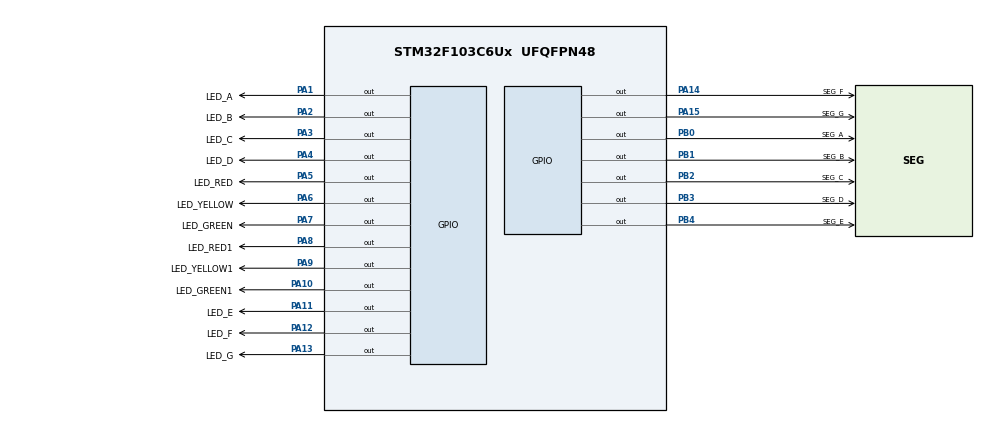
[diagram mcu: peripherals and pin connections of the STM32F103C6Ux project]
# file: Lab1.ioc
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Mcu.Family=STM32F1
Mcu.Name=STM32F103C6Ux
Mcu.Package=UFQFPN48
NVIC.PriorityGroup=NVIC_PRIORITYGROUP_4
PA1.GPIO_Label=LED_A
PA1.Signal=GPIO_Output
PA10.GPIO_Label=LED_GREEN1
PA10.Signal=GPIO_Output
PA11.GPIO_Label=LED_E
PA11.Signal=GPIO_Output
PA12.GPIO_Label=LED_F
PA12.Signal=GPIO_Output
PA13.GPIO_Label=LED_G
PA13.Signal=GPIO_Output
PA14.GPIO_Label=SEG_F
PA14.Signal=GPIO_Output
PA15.GPIO_Label=SEG_G
PA15.Signal=GPIO_Output
PA2.GPIO_Label=LED_B
PA2.Signal=GPIO_Output
PA3.GPIO_Label=LED_C
PA3.Signal=GPIO_Output
PA4.GPIO_Label=LED_D
PA4.Signal=GPIO_Output
PA5.GPIO_Label=LED_RED
PA5.Signal=GPIO_Output
PA6.GPIO_Label=LED_YELLOW
PA6.Signal=GPIO_Output
PA7.GPIO_Label=LED_GREEN
PA7.Signal=GPIO_Output
PA8.GPIO_Label=LED_RED1
PA8.Signal=GPIO_Output
PA9.GPIO_Label=LED_YELLOW1
PA9.Signal=GPIO_Output
PB0.GPIO_Label=SEG_A
PB0.Signal=GPIO_Output
PB1.GPIO_Label=SEG_B
PB1.Signal=GPIO_Output
PB2.GPIO_Label=SEG_C
PB2.Signal=GPIO_Output
PB3.GPIO_Label=SEG_D
PB3.Signal=GPIO_Output
PB4.GPIO_Label=SEG_E
PB4.Signal=GPIO_Output
ProjectManager.HeapSize=0x200
ProjectManager.StackSize=0x400
ProjectManager.TargetToolchain=STM32CubeIDE
RCC.APB1Freq_Value=8000000
RCC.APB2Freq_Value=8000000
VP_SYS_VS_ND.Mode=No_Debug
board=custom

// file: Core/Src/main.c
/* USER CODE BEGIN Header */
/**
  ******************************************************************************
  * @file           : main.c
  * @brief          : Main program body
  ******************************************************************************
  * @attention
  *
  * <h2><center>&copy; Copyright (c) 2024 STMicroelectronics.
  * All rights reserved.</center></h2>
  *
  * This software component is licensed by ST under BSD 3-Clause license,
  * the "License"; You may not use this file except in compliance with the
  * License. You may obtain a copy of the License at:
  *                        opensource.org/licenses/BSD-3-Clause
  *
  ******************************************************************************
  */
/* USER CODE END Header */
#include "main.h"

/* USER CODE BEGIN PD */
#define RED 0
#define YELLOW 1
#define GREEN 2
/* USER CODE END PD */

void SystemClock_Config(void);
static void MX_GPIO_Init(void);
/* USER CODE BEGIN PFP */
void Exercise1_Run(void);
void Exercise2_Run(void);
void Exercise3_Run(void);
void Exercise4_Run(void);
void Exercise5_Run(void);
void Exercise6_Run(void);
void Exercise7_Run(void);
void Exercise8_Run(void);
void Exercise9_Run(void);
void Exercise10_Run(void);
void display7SEG_0(int num);
void display7SEG_1(int num);
/* USER CODE END PFP */

int main(void)
{

  /* MCU Configuration--------------------------------------------------------*/

  /* Reset of all peripherals, Initializes the Flash interface and the Systick. */
  HAL_Init();

  /* Configure the system clock */
  SystemClock_Config();

  /* Initialize all configured peripherals */
  MX_GPIO_Init();
  /* USER CODE BEGIN 2 */
  Exercise5_Run();
  /* USER CODE END 2 */

  /* Infinite loop */

}

void SystemClock_Config(void)
{
  RCC_OscInitTypeDef RCC_OscInitStruct = {0};
  RCC_ClkInitTypeDef RCC_ClkInitStruct = {0};

  /** Initializes the RCC Oscillators according to the specified parameters
  * in the RCC_OscInitTypeDef structure.
  */
  RCC_OscInitStruct.OscillatorType = RCC_OSCILLATORTYPE_HSI;
  RCC_OscInitStruct.HSIState = RCC_HSI_ON;
  RCC_OscInitStruct.HSICalibrationValue = RCC_HSICALIBRATION_DEFAULT;
  RCC_OscInitStruct.PLL.PLLState = RCC_PLL_NONE;
  if (HAL_RCC_OscConfig(&RCC_OscInitStruct) != HAL_OK)
  {
    Error_Handler();
  }
  /** Initializes the CPU, AHB and APB buses clocks
  */
  RCC_ClkInitStruct.ClockType = RCC_CLOCKTYPE_HCLK|RCC_CLOCKTYPE_SYSCLK
                              |RCC_CLOCKTYPE_PCLK1|RCC_CLOCKTYPE_PCLK2;
  RCC_ClkInitStruct.SYSCLKSource = RCC_SYSCLKSOURCE_HSI;
  RCC_ClkInitStruct.AHBCLKDivider = RCC_SYSCLK_DIV1;
  RCC_ClkInitStruct.APB1CLKDivider = RCC_HCLK_DIV1;
  RCC_ClkInitStruct.APB2CLKDivider = RCC_HCLK_DIV1;

  if (HAL_RCC_ClockConfig(&RCC_ClkInitStruct, FLASH_LATENCY_0) != HAL_OK)
  {
    Error_Handler();
  }
}

static void MX_GPIO_Init(void)
{
  GPIO_InitTypeDef GPIO_InitStruct = {0};

  /* GPIO Ports Clock Enable */
  __HAL_RCC_GPIOA_CLK_ENABLE();
  __HAL_RCC_GPIOB_CLK_ENABLE();

  /*Configure GPIO pin Output Level */
  HAL_GPIO_WritePin(GPIOA, LED_A_Pin|LED_B_Pin|LED_C_Pin|LED_D_Pin
                          |LED_RED_Pin|LED_YELLOW_Pin|LED_GREEN_Pin|LED_RED1_Pin
                          |LED_YELLOW1_Pin|LED_GREEN1_Pin|LED_E_Pin|LED_F_Pin
                          |LED_G_Pin|SEG_F_Pin|SEG_G_Pin, GPIO_PIN_RESET);

  /*Configure GPIO pin Output Level */
  HAL_GPIO_WritePin(GPIOB, SEG_A_Pin|SEG_B_Pin|SEG_C_Pin|SEG_D_Pin
                          |SEG_E_Pin, GPIO_PIN_RESET);

  /*Configure GPIO pins : LED_A_Pin LED_B_Pin LED_C_Pin LED_D_Pin
                           LED_RED_Pin LED_YELLOW_Pin LED_GREEN_Pin LED_RED1_Pin
                           LED_YELLOW1_Pin LED_GREEN1_Pin LED_E_Pin LED_F_Pin
                           LED_G_Pin SEG_F_Pin SEG_G_Pin */
  GPIO_InitStruct.Pin = LED_A_Pin|LED_B_Pin|LED_C_Pin|LED_D_Pin
                          |LED_RED_Pin|LED_YELLOW_Pin|LED_GREEN_Pin|LED_RED1_Pin
                          |LED_YELLOW1_Pin|LED_GREEN1_Pin|LED_E_Pin|LED_F_Pin
                          |LED_G_Pin|SEG_F_Pin|SEG_G_Pin;
  GPIO_InitStruct.Mode = GPIO_MODE_OUTPUT_PP;
  GPIO_InitStruct.Pull = GPIO_NOPULL;
  GPIO_InitStruct.Speed = GPIO_SPEED_FREQ_LOW;
  HAL_GPIO_Init(GPIOA, &GPIO_InitStruct);

  /*Configure GPIO pins : SEG_A_Pin SEG_B_Pin SEG_C_Pin SEG_D_Pin
                           SEG_E_Pin */
  GPIO_InitStruct.Pin = SEG_A_Pin|SEG_B_Pin|SEG_C_Pin|SEG_D_Pin
                          |SEG_E_Pin;
  GPIO_InitStruct.Mode = GPIO_MODE_OUTPUT_PP;
  GPIO_InitStruct.Pull = GPIO_NOPULL;
  GPIO_InitStruct.Speed = GPIO_SPEED_FREQ_LOW;
  HAL_GPIO_Init(GPIOB, &GPIO_InitStruct);

}

/* USER CODE BEGIN 4 */
void Exercise1_Run(){
	  HAL_GPIO_TogglePin ( LED_YELLOW_GPIO_Port , LED_YELLOW_Pin ) ;
	  while (1)
	  {
		  HAL_GPIO_TogglePin ( LED_RED_GPIO_Port , LED_RED_Pin ) ;
		  HAL_GPIO_TogglePin ( LED_YELLOW_GPIO_Port , LED_YELLOW_Pin ) ;
		  HAL_Delay (1000) ;
	  }
}
void Exercise2_Run(void){
	  int counter = 0;
	  int led_status = RED;
	  HAL_GPIO_TogglePin ( LED_RED_GPIO_Port , LED_RED_Pin ) ;
	  while (1)
	  {
		  switch(led_status){
		  case RED:
			  if(counter == 5) {
				  HAL_GPIO_WritePin(LED_RED_GPIO_Port , LED_RED_Pin, GPIO_PIN_SET);
				  HAL_GPIO_WritePin(LED_YELLOW_GPIO_Port , LED_YELLOW_Pin, GPIO_PIN_RESET);
				  HAL_GPIO_WritePin(LED_GREEN_GPIO_Port , LED_GREEN_Pin, GPIO_PIN_RESET);
				  counter = 0;
				  led_status = GREEN;
			  }
			  break;
		  case YELLOW:
			  if(counter == 2) {
			  	  HAL_GPIO_WritePin(LED_RED_GPIO_Port , LED_RED_Pin, GPIO_PIN_RESET);
			  	  HAL_GPIO_WritePin(LED_YELLOW_GPIO_Port , LED_YELLOW_Pin, GPIO_PIN_SET);
			  	  HAL_GPIO_WritePin(LED_GREEN_GPIO_Port , LED_GREEN_Pin, GPIO_PIN_RESET);
			  	  counter = 0;
			  	  led_status = RED;
			  }
			  break;
		  case GREEN:
			  if(counter == 3) {
			 	  HAL_GPIO_WritePin(LED_RED_GPIO_Port , LED_RED_Pin, GPIO_PIN_RESET);
			 	  HAL_GPIO_WritePin(LED_YELLOW_GPIO_Port , LED_YELLOW_Pin, GPIO_PIN_RESET);
			 	  HAL_GPIO_WritePin(LED_GREEN_GPIO_Port , LED_GREEN_Pin, GPIO_PIN_SET);
			 	  counter = 0;
			 	  led_status = YELLOW;
			  }
			  break;

		  }
		  counter ++;
		  HAL_Delay (1000) ;
	  }
}
void Exercise3_Run(void){
	  int counter = 0;
	  HAL_GPIO_WritePin(LED_RED_GPIO_Port , LED_RED_Pin, GPIO_PIN_SET);
	  HAL_GPIO_WritePin(LED_YELLOW_GPIO_Port , LED_YELLOW_Pin, GPIO_PIN_RESET);
	  HAL_GPIO_WritePin(LED_GREEN_GPIO_Port , LED_GREEN_Pin, GPIO_PIN_RESET);

	  HAL_GPIO_WritePin(LED_RED1_GPIO_Port , LED_RED1_Pin, GPIO_PIN_RESET);
	  HAL_GPIO_WritePin(LED_YELLOW1_GPIO_Port , LED_YELLOW1_Pin, GPIO_PIN_RESET);
	  HAL_GPIO_WritePin(LED_GREEN1_GPIO_Port , LED_GREEN1_Pin, GPIO_PIN_SET);
	  int led_status = RED;
	  while (1)
	  {
		  switch(led_status){
		  case RED:
			  if(counter == 3) {
			      HAL_GPIO_WritePin(LED_RED1_GPIO_Port , LED_RED1_Pin, GPIO_PIN_RESET);
			  	  HAL_GPIO_WritePin(LED_YELLOW1_GPIO_Port , LED_YELLOW1_Pin, GPIO_PIN_SET);
			  	  HAL_GPIO_WritePin(LED_GREEN1_GPIO_Port , LED_GREEN1_Pin, GPIO_PIN_RESET);
			  }
			  if(counter == 5) {
				  HAL_GPIO_WritePin(LED_RED_GPIO_Port , LED_RED_Pin, GPIO_PIN_RESET);
				  HAL_GPIO_WritePin(LED_YELLOW_GPIO_Port , LED_YELLOW_Pin, GPIO_PIN_RESET);
				  HAL_GPIO_WritePin(LED_GREEN_GPIO_Port , LED_GREEN_Pin, GPIO_PIN_SET);

				  HAL_GPIO_WritePin(LED_RED1_GPIO_Port , LED_RED1_Pin, GPIO_PIN_SET);
				  HAL_GPIO_WritePin(LED_YELLOW1_GPIO_Port , LED_YELLOW1_Pin, GPIO_PIN_RESET);
				  HAL_GPIO_WritePin(LED_GREEN1_GPIO_Port , LED_GREEN1_Pin, GPIO_PIN_RESET);
				  counter = 0;
				  led_status = GREEN;
			  }
			  break;
		  case YELLOW:
			  if(counter == 2) {
			  	  HAL_GPIO_WritePin(LED_RED_GPIO_Port , LED_RED_Pin, GPIO_PIN_SET);
			  	  HAL_GPIO_WritePin(LED_YELLOW_GPIO_Port , LED_YELLOW_Pin, GPIO_PIN_RESET);
			  	  HAL_GPIO_WritePin(LED_GREEN_GPIO_Port , LED_GREEN_Pin, GPIO_PIN_RESET);

			      HAL_GPIO_WritePin(LED_RED1_GPIO_Port , LED_RED1_Pin, GPIO_PIN_RESET);
			  	  HAL_GPIO_WritePin(LED_YELLOW1_GPIO_Port , LED_YELLOW1_Pin, GPIO_PIN_RESET);
			  	  HAL_GPIO_WritePin(LED_GREEN1_GPIO_Port , LED_GREEN1_Pin, GPIO_PIN_SET);
			  	  counter = 0;
			  	  led_status = RED;

			  }
			  break;
		  case GREEN:
			  if(counter == 3) {
			 	  HAL_GPIO_WritePin(LED_RED_GPIO_Port , LED_RED_Pin, GPIO_PIN_RESET);
			 	  HAL_GPIO_WritePin(LED_YELLOW_GPIO_Port , LED_YELLOW_Pin, GPIO_PIN_SET);
			 	  HAL_GPIO_WritePin(LED_GREEN_GPIO_Port , LED_GREEN_Pin, GPIO_PIN_RESET);

			 	  counter = 0;
			 	  led_status = YELLOW;
			  }
			  break;
		  }
		  counter ++;
		  HAL_Delay (1000) ;
	  }
}
void display7SEG_0(int num){
	switch(num){
	case 0:
		HAL_GPIO_WritePin(LED_A_GPIO_Port , LED_A_Pin, GPIO_PIN_RESET);
		HAL_GPIO_WritePin(LED_B_GPIO_Port , LED_B_Pin, GPIO_PIN_RESET);
		HAL_GPIO_WritePin(LED_C_GPIO_Port , LED_C_Pin, GPIO_PIN_RESET);
		HAL_GPIO_WritePin(LED_D_GPIO_Port , LED_D_Pin, GPIO_PIN_RESET);
		HAL_GPIO_WritePin(LED_E_GPIO_Port , LED_E_Pin, GPIO_PIN_RESET);
		HAL_GPIO_WritePin(LED_F_GPIO_Port , LED_F_Pin, GPIO_PIN_RESET);
		HAL_GPIO_WritePin(LED_G_GPIO_Port , LED_G_Pin, GPIO_PIN_SET);
		break;
	case 1:
		HAL_GPIO_WritePin(LED_A_GPIO_Port , LED_A_Pin, GPIO_PIN_SET);
		HAL_GPIO_WritePin(LED_B_GPIO_Port , LED_B_Pin, GPIO_PIN_RESET);
		HAL_GPIO_WritePin(LED_C_GPIO_Port , LED_C_Pin, GPIO_PIN_RESET);
		HAL_GPIO_WritePin(LED_D_GPIO_Port , LED_D_Pin, GPIO_PIN_SET);
		HAL_GPIO_WritePin(LED_E_GPIO_Port , LED_E_Pin, GPIO_PIN_SET);
		HAL_GPIO_WritePin(LED_F_GPIO_Port , LED_F_Pin, GPIO_PIN_SET);
		HAL_GPIO_WritePin(LED_G_GPIO_Port , LED_G_Pin, GPIO_PIN_SET);
		break;
	case 2:
		HAL_GPIO_WritePin(LED_A_GPIO_Port , LED_A_Pin, GPIO_PIN_RESET);
		HAL_GPIO_WritePin(LED_B_GPIO_Port , LED_B_Pin, GPIO_PIN_RESET);
		HAL_GPIO_WritePin(LED_C_GPIO_Port , LED_C_Pin, GPIO_PIN_SET);
		HAL_GPIO_WritePin(LED_D_GPIO_Port , LED_D_Pin, GPIO_PIN_RESET);
		HAL_GPIO_WritePin(LED_E_GPIO_Port , LED_E_Pin, GPIO_PIN_RESET);
		HAL_GPIO_WritePin(LED_F_GPIO_Port , LED_F_Pin, GPIO_PIN_SET);
		HAL_GPIO_WritePin(LED_G_GPIO_Port , LED_G_Pin, GPIO_PIN_RESET);
		break;
	case 3:
		HAL_GPIO_WritePin(LED_A_GPIO_Port , LED_A_Pin, GPIO_PIN_RESET);
		HAL_GPIO_WritePin(LED_B_GPIO_Port , LED_B_Pin, GPIO_PIN_RESET);
		HAL_GPIO_WritePin(LED_C_GPIO_Port , LED_C_Pin, GPIO_PIN_RESET);
		HAL_GPIO_WritePin(LED_D_GPIO_Port , LED_D_Pin, GPIO_PIN_RESET);
		HAL_GPIO_WritePin(LED_E_GPIO_Port , LED_E_Pin, GPIO_PIN_SET);
		HAL_GPIO_WritePin(LED_F_GPIO_Port , LED_F_Pin, GPIO_PIN_SET);
		HAL_GPIO_WritePin(LED_G_GPIO_Port , LED_G_Pin, GPIO_PIN_RESET);
		break;
	case 4:
		HAL_GPIO_WritePin(LED_A_GPIO_Port , LED_A_Pin, GPIO_PIN_SET);
		HAL_GPIO_WritePin(LED_B_GPIO_Port , LED_B_Pin, GPIO_PIN_RESET);
		HAL_GPIO_WritePin(LED_C_GPIO_Port , LED_C_Pin, GPIO_PIN_RESET);
		HAL_GPIO_WritePin(LED_D_GPIO_Port , LED_D_Pin, GPIO_PIN_SET);
		HAL_GPIO_WritePin(LED_E_GPIO_Port , LED_E_Pin, GPIO_PIN_SET);
		HAL_GPIO_WritePin(LED_F_GPIO_Port , LED_F_Pin, GPIO_PIN_RESET);
		HAL_GPIO_WritePin(LED_G_GPIO_Port , LED_G_Pin, GPIO_PIN_RESET);
		break;
	case 5:
		HAL_GPIO_WritePin(LED_A_GPIO_Port , LED_A_Pin, GPIO_PIN_RESET);
		HAL_GPIO_WritePin(LED_B_GPIO_Port , LED_B_Pin, GPIO_PIN_SET);
		HAL_GPIO_WritePin(LED_C_GPIO_Port , LED_C_Pin, GPIO_PIN_RESET);
		HAL_GPIO_WritePin(LED_D_GPIO_Port , LED_D_Pin, GPIO_PIN_RESET);
		HAL_GPIO_WritePin(LED_E_GPIO_Port , LED_E_Pin, GPIO_PIN_SET);
		HAL_GPIO_WritePin(LED_F_GPIO_Port , LED_F_Pin, GPIO_PIN_RESET);
		HAL_GPIO_WritePin(LED_G_GPIO_Port , LED_G_Pin, GPIO_PIN_RESET);
		break;
	case 7:
		HAL_GPIO_WritePin(LED_A_GPIO_Port , LED_A_Pin, GPIO_PIN_RESET);
		HAL_GPIO_WritePin(LED_B_GPIO_Port , LED_B_Pin, GPIO_PIN_RESET);
		HAL_GPIO_WritePin(LED_C_GPIO_Port , LED_C_Pin, GPIO_PIN_RESET);
		HAL_GPIO_WritePin(LED_D_GPIO_Port , LED_D_Pin, GPIO_PIN_SET);
		HAL_GPIO_WritePin(LED_E_GPIO_Port , LED_E_Pin, GPIO_PIN_SET);
		HAL_GPIO_WritePin(LED_F_GPIO_Port , LED_F_Pin, GPIO_PIN_SET);
		HAL_GPIO_WritePin(LED_G_GPIO_Port , LED_G_Pin, GPIO_PIN_SET);
		break;
	case 6:
		HAL_GPIO_WritePin(LED_A_GPIO_Port , LED_A_Pin, GPIO_PIN_RESET);
		HAL_GPIO_WritePin(LED_B_GPIO_Port , LED_B_Pin, GPIO_PIN_SET);
		HAL_GPIO_WritePin(LED_C_GPIO_Port , LED_C_Pin, GPIO_PIN_RESET);
		HAL_GPIO_WritePin(LED_D_GPIO_Port , LED_D_Pin, GPIO_PIN_RESET);
		HAL_GPIO_WritePin(LED_E_GPIO_Port , LED_E_Pin, GPIO_PIN_RESET);
		HAL_GPIO_WritePin(LED_F_GPIO_Port , LED_F_Pin, GPIO_PIN_RESET);
		HAL_GPIO_WritePin(LED_G_GPIO_Port , LED_G_Pin, GPIO_PIN_RESET);
		break;
	case 8:
		HAL_GPIO_WritePin(LED_A_GPIO_Port , LED_A_Pin, GPIO_PIN_RESET);
		HAL_GPIO_WritePin(LED_B_GPIO_Port , LED_B_Pin, GPIO_PIN_RESET);
		HAL_GPIO_WritePin(LED_C_GPIO_Port , LED_C_Pin, GPIO_PIN_RESET);
		HAL_GPIO_WritePin(LED_D_GPIO_Port , LED_D_Pin, GPIO_PIN_RESET);
		HAL_GPIO_WritePin(LED_E_GPIO_Port , LED_E_Pin, GPIO_PIN_RESET);
		HAL_GPIO_WritePin(LED_F_GPIO_Port , LED_F_Pin, GPIO_PIN_RESET);
		HAL_GPIO_WritePin(LED_G_GPIO_Port , LED_G_Pin, GPIO_PIN_RESET);
		break;
	case 9:
		HAL_GPIO_WritePin(LED_A_GPIO_Port , LED_A_Pin, GPIO_PIN_RESET);
		HAL_GPIO_WritePin(LED_B_GPIO_Port , LED_B_Pin, GPIO_PIN_RESET);
		HAL_GPIO_WritePin(LED_C_GPIO_Port , LED_C_Pin, GPIO_PIN_RESET);
		HAL_GPIO_WritePin(LED_D_GPIO_Port , LED_D_Pin, GPIO_PIN_RESET);
		HAL_GPIO_WritePin(LED_E_GPIO_Port , LED_E_Pin, GPIO_PIN_SET);
		HAL_GPIO_WritePin(LED_F_GPIO_Port , LED_F_Pin, GPIO_PIN_RESET);
		HAL_GPIO_WritePin(LED_G_GPIO_Port , LED_G_Pin, GPIO_PIN_RESET);
		break;

	}
}
void display7SEG_1(int num){
	switch(num){
	case 0:
		HAL_GPIO_WritePin(SEG_A_GPIO_Port , SEG_A_Pin, GPIO_PIN_RESET);
		HAL_GPIO_WritePin(SEG_B_GPIO_Port , SEG_B_Pin, GPIO_PIN_RESET);
		HAL_GPIO_WritePin(SEG_C_GPIO_Port , SEG_C_Pin, GPIO_PIN_RESET);
		HAL_GPIO_WritePin(SEG_D_GPIO_Port , SEG_D_Pin, GPIO_PIN_RESET);
		HAL_GPIO_WritePin(SEG_E_GPIO_Port , SEG_E_Pin, GPIO_PIN_RESET);
		HAL_GPIO_WritePin(SEG_F_GPIO_Port , SEG_F_Pin, GPIO_PIN_RESET);
		HAL_GPIO_WritePin(SEG_G_GPIO_Port , SEG_G_Pin, GPIO_PIN_SET);
		break;
	case 1:
		HAL_GPIO_WritePin(SEG_A_GPIO_Port , SEG_A_Pin, GPIO_PIN_SET);
		HAL_GPIO_WritePin(SEG_B_GPIO_Port , SEG_B_Pin, GPIO_PIN_RESET);
		HAL_GPIO_WritePin(SEG_C_GPIO_Port , SEG_C_Pin, GPIO_PIN_RESET);
		HAL_GPIO_WritePin(SEG_D_GPIO_Port , SEG_D_Pin, GPIO_PIN_SET);
		HAL_GPIO_WritePin(SEG_E_GPIO_Port , SEG_E_Pin, GPIO_PIN_SET);
		HAL_GPIO_WritePin(SEG_F_GPIO_Port , SEG_F_Pin, GPIO_PIN_SET);
		HAL_GPIO_WritePin(SEG_G_GPIO_Port , SEG_G_Pin, GPIO_PIN_SET);
		break;
	case 2:
		HAL_GPIO_WritePin(SEG_A_GPIO_Port , SEG_A_Pin, GPIO_PIN_RESET);
		HAL_GPIO_WritePin(SEG_B_GPIO_Port , SEG_B_Pin, GPIO_PIN_RESET);
		HAL_GPIO_WritePin(SEG_C_GPIO_Port , SEG_C_Pin, GPIO_PIN_SET);
		HAL_GPIO_WritePin(SEG_D_GPIO_Port , SEG_D_Pin, GPIO_PIN_RESET);
		HAL_GPIO_WritePin(SEG_E_GPIO_Port , SEG_E_Pin, GPIO_PIN_RESET);
		HAL_GPIO_WritePin(SEG_F_GPIO_Port , SEG_F_Pin, GPIO_PIN_SET);
		HAL_GPIO_WritePin(SEG_G_GPIO_Port , SEG_G_Pin, GPIO_PIN_RESET);
		break;
	case 3:
		HAL_GPIO_WritePin(SEG_A_GPIO_Port , SEG_A_Pin, GPIO_PIN_RESET);
		HAL_GPIO_WritePin(SEG_B_GPIO_Port , SEG_B_Pin, GPIO_PIN_RESET);
		HAL_GPIO_WritePin(SEG_C_GPIO_Port , SEG_C_Pin, GPIO_PIN_RESET);
		HAL_GPIO_WritePin(SEG_D_GPIO_Port , SEG_D_Pin, GPIO_PIN_RESET);
		HAL_GPIO_WritePin(SEG_E_GPIO_Port , SEG_E_Pin, GPIO_PIN_SET);
		HAL_GPIO_WritePin(SEG_F_GPIO_Port , SEG_F_Pin, GPIO_PIN_SET);
		HAL_GPIO_WritePin(SEG_G_GPIO_Port , SEG_G_Pin, GPIO_PIN_RESET);
		break;
	case 4:
		HAL_GPIO_WritePin(SEG_A_GPIO_Port , SEG_A_Pin, GPIO_PIN_SET);
		HAL_GPIO_WritePin(SEG_B_GPIO_Port , SEG_B_Pin, GPIO_PIN_RESET);
		HAL_GPIO_WritePin(SEG_C_GPIO_Port , SEG_C_Pin, GPIO_PIN_RESET);
		HAL_GPIO_WritePin(SEG_D_GPIO_Port , SEG_D_Pin, GPIO_PIN_SET);
		HAL_GPIO_WritePin(SEG_E_GPIO_Port , SEG_E_Pin, GPIO_PIN_SET);
		HAL_GPIO_WritePin(SEG_F_GPIO_Port , SEG_F_Pin, GPIO_PIN_RESET);
		HAL_GPIO_WritePin(SEG_G_GPIO_Port , SEG_G_Pin, GPIO_PIN_RESET);
		break;
	case 5:
		HAL_GPIO_WritePin(SEG_A_GPIO_Port , SEG_A_Pin, GPIO_PIN_RESET);
		HAL_GPIO_WritePin(SEG_B_GPIO_Port , SEG_B_Pin, GPIO_PIN_SET);
		HAL_GPIO_WritePin(SEG_C_GPIO_Port , SEG_C_Pin, GPIO_PIN_RESET);
		HAL_GPIO_WritePin(SEG_D_GPIO_Port , SEG_D_Pin, GPIO_PIN_RESET);
		HAL_GPIO_WritePin(SEG_E_GPIO_Port , SEG_E_Pin, GPIO_PIN_SET);
		HAL_GPIO_WritePin(SEG_F_GPIO_Port , SEG_F_Pin, GPIO_PIN_RESET);
		HAL_GPIO_WritePin(SEG_G_GPIO_Port , SEG_G_Pin, GPIO_PIN_RESET);
		break;
	case 7:
		HAL_GPIO_WritePin(SEG_A_GPIO_Port , SEG_A_Pin, GPIO_PIN_RESET);
		HAL_GPIO_WritePin(SEG_B_GPIO_Port , SEG_B_Pin, GPIO_PIN_RESET);
		HAL_GPIO_WritePin(SEG_C_GPIO_Port , SEG_C_Pin, GPIO_PIN_RESET);
		HAL_GPIO_WritePin(SEG_D_GPIO_Port , SEG_D_Pin, GPIO_PIN_SET);
		HAL_GPIO_WritePin(SEG_E_GPIO_Port , SEG_E_Pin, GPIO_PIN_SET);
		HAL_GPIO_WritePin(SEG_F_GPIO_Port , SEG_F_Pin, GPIO_PIN_SET);
		HAL_GPIO_WritePin(SEG_G_GPIO_Port , SEG_G_Pin, GPIO_PIN_SET);
		break;
	case 6:
		HAL_GPIO_WritePin(SEG_A_GPIO_Port , SEG_A_Pin, GPIO_PIN_RESET);
		HAL_GPIO_WritePin(SEG_B_GPIO_Port , SEG_B_Pin, GPIO_PIN_SET);
		HAL_GPIO_WritePin(SEG_C_GPIO_Port , SEG_C_Pin, GPIO_PIN_RESET);
		HAL_GPIO_WritePin(SEG_D_GPIO_Port , SEG_D_Pin, GPIO_PIN_RESET);
		HAL_GPIO_WritePin(SEG_E_GPIO_Port , SEG_E_Pin, GPIO_PIN_RESET);
		HAL_GPIO_WritePin(SEG_F_GPIO_Port , SEG_F_Pin, GPIO_PIN_RESET);
		HAL_GPIO_WritePin(SEG_G_GPIO_Port , SEG_G_Pin, GPIO_PIN_RESET);
		break;
	case 8:
		HAL_GPIO_WritePin(SEG_A_GPIO_Port , SEG_A_Pin, GPIO_PIN_RESET);
		HAL_GPIO_WritePin(SEG_B_GPIO_Port , SEG_B_Pin, GPIO_PIN_RESET);
		HAL_GPIO_WritePin(SEG_C_GPIO_Port , SEG_C_Pin, GPIO_PIN_RESET);
		HAL_GPIO_WritePin(SEG_D_GPIO_Port , SEG_D_Pin, GPIO_PIN_RESET);
		HAL_GPIO_WritePin(SEG_E_GPIO_Port , SEG_E_Pin, GPIO_PIN_RESET);
		HAL_GPIO_WritePin(SEG_F_GPIO_Port , SEG_F_Pin, GPIO_PIN_RESET);
		HAL_GPIO_WritePin(SEG_G_GPIO_Port , SEG_G_Pin, GPIO_PIN_RESET);
		break;
	case 9:
		HAL_GPIO_WritePin(SEG_A_GPIO_Port , SEG_A_Pin, GPIO_PIN_RESET);
		HAL_GPIO_WritePin(SEG_B_GPIO_Port , SEG_B_Pin, GPIO_PIN_RESET);
		HAL_GPIO_WritePin(SEG_C_GPIO_Port , SEG_C_Pin, GPIO_PIN_RESET);
		HAL_GPIO_WritePin(SEG_D_GPIO_Port , SEG_D_Pin, GPIO_PIN_RESET);
		HAL_GPIO_WritePin(SEG_E_GPIO_Port , SEG_E_Pin, GPIO_PIN_SET);
		HAL_GPIO_WritePin(SEG_F_GPIO_Port , SEG_F_Pin, GPIO_PIN_RESET);
		HAL_GPIO_WritePin(SEG_G_GPIO_Port , SEG_G_Pin, GPIO_PIN_RESET);
		break;

	}
}
void Exercise4_Run(void){
	int counter = 0;
	while(1){
		if(counter >= 10) counter = 0;
		display7SEG_0(counter ++);
		HAL_Delay(1000);
	}
}
void Exercise5_Run(void){
	  int counter_0 = 5;
	  int counter_1 = 3;
	  HAL_GPIO_WritePin(LED_RED_GPIO_Port , LED_RED_Pin, GPIO_PIN_SET);
	  HAL_GPIO_WritePin(LED_YELLOW_GPIO_Port , LED_YELLOW_Pin, GPIO_PIN_RESET);
	  HAL_GPIO_WritePin(LED_GREEN_GPIO_Port , LED_GREEN_Pin, GPIO_PIN_RESET);

	  HAL_GPIO_WritePin(LED_RED1_GPIO_Port , LED_RED1_Pin, GPIO_PIN_RESET);
	  HAL_GPIO_WritePin(LED_YELLOW1_GPIO_Port , LED_YELLOW1_Pin, GPIO_PIN_RESET);
	  HAL_GPIO_WritePin(LED_GREEN1_GPIO_Port , LED_GREEN1_Pin, GPIO_PIN_SET);
	  int led_status = RED;
	  while (1)
	  {
		  switch(led_status){
		  case RED:
			  if(counter_0 == 2) {
			      HAL_GPIO_WritePin(LED_RED1_GPIO_Port , LED_RED1_Pin, GPIO_PIN_RESET);
			  	  HAL_GPIO_WritePin(LED_YELLOW1_GPIO_Port , LED_YELLOW1_Pin, GPIO_PIN_SET);
			  	  HAL_GPIO_WritePin(LED_GREEN1_GPIO_Port , LED_GREEN1_Pin, GPIO_PIN_RESET);

			  	  counter_1 = 2;
			  }
			  if(counter_0 == 0) {
				  HAL_GPIO_WritePin(LED_RED_GPIO_Port , LED_RED_Pin, GPIO_PIN_RESET);
				  HAL_GPIO_WritePin(LED_YELLOW_GPIO_Port , LED_YELLOW_Pin, GPIO_PIN_RESET);
				  HAL_GPIO_WritePin(LED_GREEN_GPIO_Port , LED_GREEN_Pin, GPIO_PIN_SET);

				  HAL_GPIO_WritePin(LED_RED1_GPIO_Port , LED_RED1_Pin, GPIO_PIN_SET);
				  HAL_GPIO_WritePin(LED_YELLOW1_GPIO_Port , LED_YELLOW1_Pin, GPIO_PIN_RESET);
				  HAL_GPIO_WritePin(LED_GREEN1_GPIO_Port , LED_GREEN1_Pin, GPIO_PIN_RESET);

				  counter_0 = 3;
				  counter_1 = 5;
				  led_status = GREEN;
			  }
			  break;
		  case YELLOW:
			  if(counter_0 == 0) {
			  	  HAL_GPIO_WritePin(LED_RED_GPIO_Port , LED_RED_Pin, GPIO_PIN_SET);
			  	  HAL_GPIO_WritePin(LED_YELLOW_GPIO_Port , LED_YELLOW_Pin, GPIO_PIN_RESET);
			  	  HAL_GPIO_WritePin(LED_GREEN_GPIO_Port , LED_GREEN_Pin, GPIO_PIN_RESET);

			      HAL_GPIO_WritePin(LED_RED1_GPIO_Port , LED_RED1_Pin, GPIO_PIN_RESET);
			  	  HAL_GPIO_WritePin(LED_YELLOW1_GPIO_Port , LED_YELLOW1_Pin, GPIO_PIN_RESET);
			  	  HAL_GPIO_WritePin(LED_GREEN1_GPIO_Port , LED_GREEN1_Pin, GPIO_PIN_SET);

			  	  counter_0 = 5;
			  	  counter_1 = 3;
			  	  led_status = RED;

			  }
			  break;
		  case GREEN:
			  if(counter_0 == 0) {
			 	  HAL_GPIO_WritePin(LED_RED_GPIO_Port , LED_RED_Pin, GPIO_PIN_RESET);
			 	  HAL_GPIO_WritePin(LED_YELLOW_GPIO_Port , LED_YELLOW_Pin, GPIO_PIN_SET);
			 	  HAL_GPIO_WritePin(LED_GREEN_GPIO_Port , LED_GREEN_Pin, GPIO_PIN_RESET);

			 	  counter_0 = 2;
			 	  led_status = YELLOW;
			  }
			  break;
		  }
		  display7SEG_0(-- counter_0);
		  display7SEG_1(-- counter_1);
		  HAL_Delay (1000) ;
	  }
}
/* USER CODE END 4 */

void Error_Handler(void)
{
  __disable_irq();
  while (1)
  {
  }
}

/************************ (C) COPYRIGHT STMicroelectronics *****END OF FILE****/
